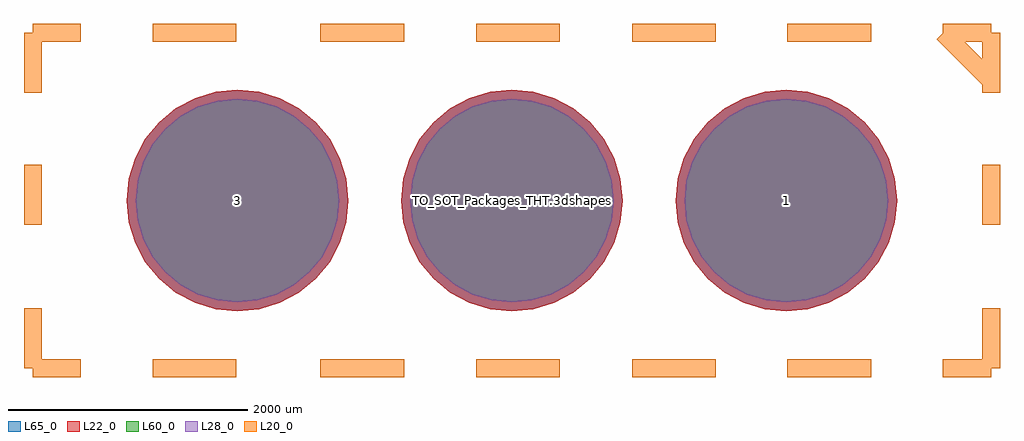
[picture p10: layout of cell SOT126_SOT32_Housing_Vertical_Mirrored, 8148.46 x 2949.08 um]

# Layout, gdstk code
import gdstk
lib = gdstk.Library(unit=1e-6, precision=1e-09)
def P(c, l, *ps):  # polygons
    for p in ps: c.add(gdstk.Polygon(p, *l))
L20_0 = (20, 0)
L22_0 = (22, 0)
L28_0 = (28, 0)
L60_0 = (60, 0)
L65_0 = (65, 0)

sot126_sot32_housing_ver = lib.new_cell('SOT126_SOT32_Housing_Vertical_Mirrored')
P(sot126_sot32_housing_ver, L22_0, [(3215.71,0),(3197.943,180.386),(3145.327,353.841),(3059.882,513.697),(2944.892,653.812),(2804.777,768.802),(2644.921,854.247),(2471.466,906.863),(2291.08,924.63),(2110.694,906.863),(1937.239,854.247),(1777.383,768.802),(1637.268,653.812),(1522.278,513.697),(1436.833,353.841),(1384.217,180.386),(1366.45,0),(1384.217,-180.386),(1436.833,-353.841),(1522.278,-513.697),(1637.268,-653.812),(1777.383,-768.802),(1937.239,-854.247),(2110.694,-906.863),(2291.08,-924.63),(2471.466,-906.863),(2644.921,-854.247),(2804.777,-768.802),(2944.892,-653.812),(3059.882,-513.697),(3145.327,-353.841),(3197.943,-180.386)],
  [(-1366.45,0),(-1384.217,180.386),(-1436.833,353.841),(-1522.278,513.697),(-1637.268,653.812),(-1777.383,768.802),(-1937.239,854.247),(-2110.694,906.863),(-2291.08,924.63),(-2471.466,906.863),(-2644.921,854.247),(-2804.777,768.802),(-2944.892,653.812),(-3059.882,513.697),(-3145.327,353.841),(-3197.943,180.386),(-3215.71,0),(-3197.943,-180.386),(-3145.327,-353.841),(-3059.882,-513.697),(-2944.892,-653.812),(-2804.777,-768.802),(-2644.921,-854.247),(-2471.466,-906.863),(-2291.08,-924.63),(-2110.694,-906.863),(-1937.239,-854.247),(-1777.383,-768.802),(-1637.268,-653.812),(-1522.278,-513.697),(-1436.833,-353.841),(-1384.217,-180.386)],
  [(924.63,0),(906.863,180.386),(854.247,353.841),(768.802,513.697),(653.812,653.812),(513.697,768.802),(353.841,854.247),(180.386,906.863),(0,924.63),(-180.386,906.863),(-353.841,854.247),(-513.697,768.802),(-653.812,653.812),(-768.802,513.697),(-854.247,353.841),(-906.863,180.386),(-924.63,0),(-906.863,-180.386),(-854.247,-353.841),(-768.802,-513.697),(-653.812,-653.812),(-513.697,-768.802),(-353.841,-854.247),(-180.386,-906.863),(0,-924.63),(180.386,-906.863),(353.841,-854.247),(513.697,-768.802),(653.812,-653.812),(768.802,-513.697),(854.247,-353.841),(906.863,-180.386)])
P(sot126_sot32_housing_ver, L28_0, [(3140.71,0),(3124.385,165.755),(3076.036,325.139),(2997.522,472.029),(2891.859,600.779),(2763.109,706.442),(2616.219,784.956),(2456.835,833.305),(2291.08,849.63),(2125.325,833.305),(1965.941,784.956),(1819.051,706.442),(1690.301,600.779),(1584.638,472.029),(1506.124,325.139),(1457.775,165.755),(1441.45,0),(1457.775,-165.755),(1506.124,-325.139),(1584.638,-472.029),(1690.301,-600.779),(1819.051,-706.442),(1965.941,-784.956),(2125.325,-833.305),(2291.08,-849.63),(2456.835,-833.305),(2616.219,-784.956),(2763.109,-706.442),(2891.859,-600.779),(2997.522,-472.029),(3076.036,-325.139),(3124.385,-165.755)],
  [(-1441.45,0),(-1457.775,165.755),(-1506.124,325.139),(-1584.638,472.029),(-1690.301,600.779),(-1819.051,706.442),(-1965.941,784.956),(-2125.325,833.305),(-2291.08,849.63),(-2456.835,833.305),(-2616.219,784.956),(-2763.109,706.442),(-2891.859,600.779),(-2997.522,472.029),(-3076.036,325.139),(-3124.385,165.755),(-3140.71,0),(-3124.385,-165.755),(-3076.036,-325.139),(-2997.522,-472.029),(-2891.859,-600.779),(-2763.109,-706.442),(-2616.219,-784.956),(-2456.835,-833.305),(-2291.08,-849.63),(-2125.325,-833.305),(-1965.941,-784.956),(-1819.051,-706.442),(-1690.301,-600.779),(-1584.638,-472.029),(-1506.124,-325.139),(-1457.775,-165.755)],
  [(849.63,0),(833.305,165.755),(784.956,325.139),(706.442,472.029),(600.779,600.779),(472.029,706.442),(325.139,784.956),(165.755,833.305),(0,849.63),(-165.755,833.305),(-325.139,784.956),(-472.029,706.442),(-600.779,600.779),(-706.442,472.029),(-784.956,325.139),(-833.305,165.755),(-849.63,0),(-833.305,-165.755),(-784.956,-325.139),(-706.442,-472.029),(-600.779,-600.779),(-472.029,-706.442),(-325.139,-784.956),(-165.755,-833.305),(0,-849.63),(165.755,-833.305),(325.139,-784.956),(472.029,-706.442),(600.779,-600.779),(706.442,-472.029),(784.956,-325.139),(833.305,-165.755)])
P(sot126_sot32_housing_ver, L60_0, [(3140.71,0),(3124.385,165.755),(3076.036,325.139),(2997.522,472.029),(2891.859,600.779),(2763.109,706.442),(2616.219,784.956),(2456.835,833.305),(2291.08,849.63),(2125.325,833.305),(1965.941,784.956),(1819.051,706.442),(1690.301,600.779),(1584.638,472.029),(1506.124,325.139),(1457.775,165.755),(1441.45,0),(1457.775,-165.755),(1506.124,-325.139),(1584.638,-472.029),(1690.301,-600.779),(1819.051,-706.442),(1965.941,-784.956),(2125.325,-833.305),(2291.08,-849.63),(2456.835,-833.305),(2616.219,-784.956),(2763.109,-706.442),(2891.859,-600.779),(2997.522,-472.029),(3076.036,-325.139),(3124.385,-165.755)],
  [(-1441.45,0),(-1457.775,165.755),(-1506.124,325.139),(-1584.638,472.029),(-1690.301,600.779),(-1819.051,706.442),(-1965.941,784.956),(-2125.325,833.305),(-2291.08,849.63),(-2456.835,833.305),(-2616.219,784.956),(-2763.109,706.442),(-2891.859,600.779),(-2997.522,472.029),(-3076.036,325.139),(-3124.385,165.755),(-3140.71,0),(-3124.385,-165.755),(-3076.036,-325.139),(-2997.522,-472.029),(-2891.859,-600.779),(-2763.109,-706.442),(-2616.219,-784.956),(-2456.835,-833.305),(-2291.08,-849.63),(-2125.325,-833.305),(-1965.941,-784.956),(-1819.051,-706.442),(-1690.301,-600.779),(-1584.638,-472.029),(-1506.124,-325.139),(-1457.775,-165.755)],
  [(849.63,0),(833.305,165.755),(784.956,325.139),(706.442,472.029),(600.779,600.779),(472.029,706.442),(325.139,784.956),(165.755,833.305),(0,849.63),(-165.755,833.305),(-325.139,784.956),(-472.029,706.442),(-600.779,600.779),(-706.442,472.029),(-784.956,325.139),(-833.305,165.755),(-849.63,0),(-833.305,-165.755),(-784.956,-325.139),(-706.442,-472.029),(-600.779,-600.779),(-472.029,-706.442),(-325.139,-784.956),(-165.755,-833.305),(0,-849.63),(165.755,-833.305),(325.139,-784.956),(472.029,-706.442),(600.779,-600.779),(706.442,-472.029),(784.956,-325.139),(833.305,-165.755)])
P(sot126_sot32_housing_ver, L65_0, [(3215.71,0),(3197.943,180.386),(3145.327,353.841),(3059.882,513.697),(2944.892,653.812),(2804.777,768.802),(2644.921,854.247),(2471.466,906.863),(2291.08,924.63),(2110.694,906.863),(1937.239,854.247),(1777.383,768.802),(1637.268,653.812),(1522.278,513.697),(1436.833,353.841),(1384.217,180.386),(1366.45,0),(1384.217,-180.386),(1436.833,-353.841),(1522.278,-513.697),(1637.268,-653.812),(1777.383,-768.802),(1937.239,-854.247),(2110.694,-906.863),(2291.08,-924.63),(2471.466,-906.863),(2644.921,-854.247),(2804.777,-768.802),(2944.892,-653.812),(3059.882,-513.697),(3145.327,-353.841),(3197.943,-180.386)],
  [(-1366.45,0),(-1384.217,180.386),(-1436.833,353.841),(-1522.278,513.697),(-1637.268,653.812),(-1777.383,768.802),(-1937.239,854.247),(-2110.694,906.863),(-2291.08,924.63),(-2471.466,906.863),(-2644.921,854.247),(-2804.777,768.802),(-2944.892,653.812),(-3059.882,513.697),(-3145.327,353.841),(-3197.943,180.386),(-3215.71,0),(-3197.943,-180.386),(-3145.327,-353.841),(-3059.882,-513.697),(-2944.892,-653.812),(-2804.777,-768.802),(-2644.921,-854.247),(-2471.466,-906.863),(-2291.08,-924.63),(-2110.694,-906.863),(-1937.239,-854.247),(-1777.383,-768.802),(-1637.268,-653.812),(-1522.278,-513.697),(-1436.833,-353.841),(-1384.217,-180.386)],
  [(924.63,0),(906.863,180.386),(854.247,353.841),(768.802,513.697),(653.812,653.812),(513.697,768.802),(353.841,854.247),(180.386,906.863),(0,924.63),(-180.386,906.863),(-353.841,854.247),(-513.697,768.802),(-653.812,653.812),(-768.802,513.697),(-854.247,353.841),(-906.863,180.386),(-924.63,0),(-906.863,-180.386),(-854.247,-353.841),(-768.802,-513.697),(-653.812,-653.812),(-513.697,-768.802),(-353.841,-854.247),(-180.386,-906.863),(0,-924.63),(180.386,-906.863),(353.841,-854.247),(513.697,-768.802),(653.812,-653.812),(768.802,-513.697),(854.247,-353.841),(906.863,-180.386)])
sot126_sot32_housing_ver.add(gdstk.FlexPath([(4000.5,-1399.54),(3599.18,-1399.54)], 149.998, ends="flush", simple_path=True, layer=20, datatype=0))  # L20_0
sot126_sot32_housing_ver.add(gdstk.FlexPath([(4000.5,1399.54),(3599.18,1399.54)], 149.998, ends="flush", simple_path=True, layer=20, datatype=0))  # L20_0
sot126_sot32_housing_ver.add(gdstk.FlexPath([(-4000.5,-1399.54),(-3599.18,-1399.54)], 149.998, ends="flush", simple_path=True, layer=20, datatype=0))  # L20_0
sot126_sot32_housing_ver.add(gdstk.FlexPath([(-4000.5,1399.54),(-3599.18,1399.54)], 149.998, ends="flush", simple_path=True, layer=20, datatype=0))  # L20_0
sot126_sot32_housing_ver.add(gdstk.FlexPath([(-2999.74,1399.54),(-2301.24,1399.54)], 149.998, ends="flush", simple_path=True, layer=20, datatype=0))  # L20_0
sot126_sot32_housing_ver.add(gdstk.FlexPath([(2999.74,1399.54),(2301.24,1399.54)], 149.998, ends="flush", simple_path=True, layer=20, datatype=0))  # L20_0
sot126_sot32_housing_ver.add(gdstk.FlexPath([(1701.8,1399.54),(1003.3,1399.54)], 149.998, ends="flush", simple_path=True, layer=20, datatype=0))  # L20_0
sot126_sot32_housing_ver.add(gdstk.FlexPath([(401.32,1399.54),(-297.18,1399.54)], 149.998, ends="flush", simple_path=True, layer=20, datatype=0))  # L20_0
sot126_sot32_housing_ver.add(gdstk.FlexPath([(-899.16,1399.54),(-1597.66,1399.54)], 149.998, ends="flush", simple_path=True, layer=20, datatype=0))  # L20_0
sot126_sot32_housing_ver.add(gdstk.FlexPath([(-899.16,-1399.54),(-1597.66,-1399.54)], 149.998, ends="flush", simple_path=True, layer=20, datatype=0))  # L20_0
sot126_sot32_housing_ver.add(gdstk.FlexPath([(401.32,-1399.54),(-297.18,-1399.54)], 149.998, ends="flush", simple_path=True, layer=20, datatype=0))  # L20_0
sot126_sot32_housing_ver.add(gdstk.FlexPath([(1701.8,-1399.54),(1003.3,-1399.54)], 149.998, ends="flush", simple_path=True, layer=20, datatype=0))  # L20_0
sot126_sot32_housing_ver.add(gdstk.FlexPath([(2999.74,-1399.54),(2301.24,-1399.54)], 149.998, ends="flush", simple_path=True, layer=20, datatype=0))  # L20_0
sot126_sot32_housing_ver.add(gdstk.FlexPath([(-2999.74,-1399.54),(-2301.24,-1399.54)], 149.998, ends="flush", simple_path=True, layer=20, datatype=0))  # L20_0
sot126_sot32_housing_ver.add(gdstk.FlexPath([(4000.5,1399.54),(4000.5,899.16)], 149.998, ends="flush", simple_path=True, layer=20, datatype=0))  # L20_0
sot126_sot32_housing_ver.add(gdstk.FlexPath([(4000.5,-1399.54),(4000.5,-899.16)], 149.998, ends="flush", simple_path=True, layer=20, datatype=0))  # L20_0
sot126_sot32_housing_ver.add(gdstk.FlexPath([(4000.5,299.72),(4000.5,-200.66)], 149.998, ends="flush", simple_path=True, layer=20, datatype=0))  # L20_0
sot126_sot32_housing_ver.add(gdstk.FlexPath([(-3997.96,299.72),(-3997.96,-200.66)], 149.998, ends="flush", simple_path=True, layer=20, datatype=0))  # L20_0
sot126_sot32_housing_ver.add(gdstk.FlexPath([(-3997.96,-1399.54),(-3997.96,-899.16)], 149.998, ends="flush", simple_path=True, layer=20, datatype=0))  # L20_0
sot126_sot32_housing_ver.add(gdstk.FlexPath([(-3997.96,1399.54),(-3997.96,899.16)], 149.998, ends="flush", simple_path=True, layer=20, datatype=0))  # L20_0
sot126_sot32_housing_ver.add(gdstk.FlexPath([(3599.18,1399.54),(4000.5,1000.76)], 149.998, ends="flush", simple_path=True, layer=20, datatype=0))  # L20_0
sot126_sot32_housing_ver.add(gdstk.Label('TO_SOT_Packages_THT.3dshapes/SOT126_SOT32_Housing_Vertical_Mirrored.wrl', (0,0), layer=12, texttype=0))
sot126_sot32_housing_ver.add(gdstk.Label('1', (2291.08,0), layer=28, texttype=0))
sot126_sot32_housing_ver.add(gdstk.Label('3', (-2291.08,0), layer=28, texttype=0))
sot126_sot32_housing_ver.add(gdstk.Label('2', (0,0), layer=28, texttype=0))
sot126_sot32_housing_ver.add(gdstk.Label('type', (701.04,-4300.22), layer=9, texttype=0))
sot126_sot32_housing_ver.add(gdstk.Label('devicename', (99.06,3799.84), layer=9, texttype=0))

lib.write_gds('SOT126_SOT32_Housing_Vertical_Mirrored.gds')
